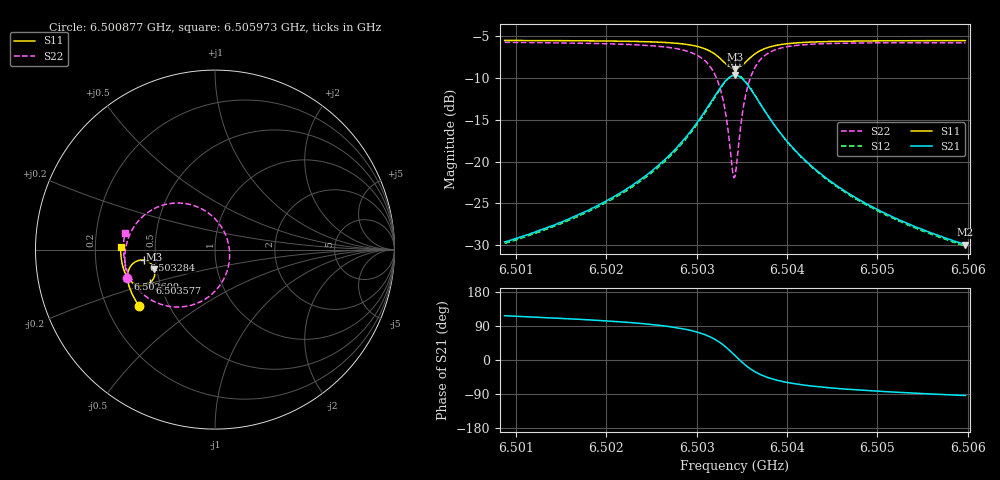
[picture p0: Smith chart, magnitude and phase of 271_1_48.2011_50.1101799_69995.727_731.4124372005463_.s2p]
#  HZ  S  RI  R  50.00
! Rohde & Schwarz Vector Network Analyzer
! Rohde-Schwarz,ZNB20-2Port,1311601062101988,3.16
! Created: UTC 3/20/2024, 11:48:10 AM
! freq[Hz]  re:S11  im:S11  re:S21  im:S21  re:S12  im:S12  re:S22  im:S22
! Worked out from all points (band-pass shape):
!   401 points, 6.500877 GHz to 6.505973 GHz, reference 50 ohm
!   highest |S21| = -9.72 dB at 6.503425 GHz (marker M1); lowest = -29.9 dB at 6.505973 GHz (marker M2)
!   |S21| within 3 dB of the highest: 6.503169 GHz to 6.503679 GHz (510.1 kHz wide, 0.00784 % of centre)
!   lowest |S11| = -9.0 dB at 6.503425 GHz (marker M3), VSWR 2.10, Z = 24.3 - j6.02 ohm
!   |S11| at or under -10 dB: nowhere
!   |S22| runs from -21.9 to -5.8 dB; largest |S21 - S12| = 0.011
!   S11 on the Smith chart (normalised r, x): 6.500877 GHz: 0.34, -0.30; 6.502609 GHz: 0.33, -0.15; 6.503284 GHz: 0.43, -0.06; 6.503577 GHz: 0.44, -0.20; 6.505973 GHz: 0.31, +0.01
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6.5008767e9  -0.4229 -0.314  -0.015 0.0296  -0.0132 0.0297  -0.4878 -0.1607
6.5017303e9  -0.4601 -0.2514  -0.0145 0.0471  -0.012 0.0468  -0.5021 -0.0711
6.5022016e9  -0.4768 -0.21  -0.0117 0.0663  -0.00859 0.0651  -0.4996 -0.00514
6.5025838e9  -0.4861 -0.1682  -0.00273 0.0955  0.000953 0.0932  -0.4809 0.0699
6.5026093e9  -0.4865 -0.1648  -0.0016 0.0982  0.0021 0.0958  -0.4784 0.0762
6.5028513e9  -0.485 -0.1293  0.018 0.1323  0.0216 0.1282  -0.4374 0.1472
6.5030297e9  -0.4723 -0.0957  0.0552 0.1691  0.0583 0.1636  -0.3644 0.2137
6.5031826e9  -0.4388 -0.0653  0.1291 0.1993  0.1304 0.1928  -0.2289 0.259
6.5032845e9  -0.396 -0.0588  0.2144 0.1899  0.2148 0.1846  -0.0805 0.2302
6.5033354e9  -0.3707 -0.0675  0.2626 0.1617  0.2635 0.157  -0.000531 0.1722
6.5033991e9  -0.3442 -0.094  0.3098 0.098  0.3123 0.0931  0.0705 0.0498
6.5034246e9  -0.3379 -0.1084  0.3199 0.066  0.3229 0.0601  0.0809 -0.00977
6.5034501e9  -0.3351 -0.1241  0.3234 0.0326  0.3266 0.0258  0.0788 -0.0706
6.5035138e9  -0.3423 -0.1608  0.3051 -0.0445  0.3071 -0.0543  0.0232 -0.2045
6.5035775e9  -0.3634 -0.1864  0.2625 -0.0979  0.2612 -0.1092  -0.0728 -0.2862
6.5036794e9  -0.4026 -0.2014  0.1885 -0.1338  0.1831 -0.1432  -0.2215 -0.3196
6.503845e9  -0.4483 -0.1918  0.1077 -0.1307  0.1007 -0.1357  -0.3672 -0.2733
6.5040234e9  -0.4755 -0.1703  0.0635 -0.111  0.0574 -0.1132  -0.4386 -0.2088
6.5042782e9  -0.4961 -0.1405  0.0338 -0.0868  0.029 -0.0873  -0.4817 -0.137
6.5046986e9  -0.5127 -0.0972  0.0138 -0.0622  0.0106 -0.0618  -0.505 -0.0564
6.5051317e9  -0.521 -0.0575  0.00489 -0.0476  0.00279 -0.0468  -0.5101 0.00325
6.5059725e9  -0.5258 0.0134  -0.00208 -0.0318  -0.00342 -0.0311  -0.502 0.0914
